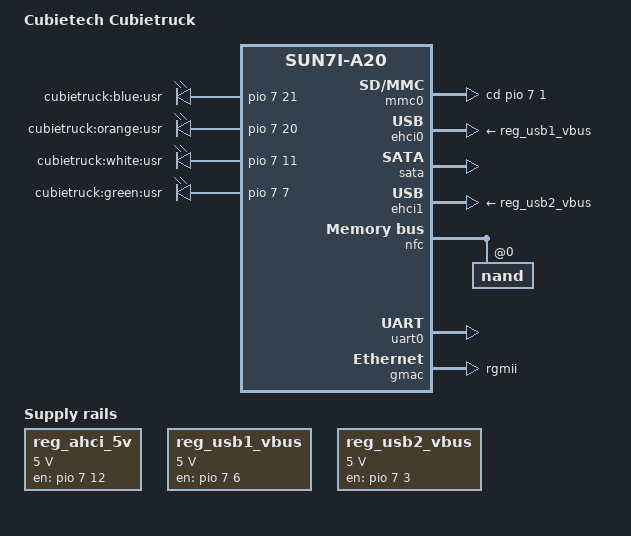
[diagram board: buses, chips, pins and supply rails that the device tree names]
/*
 * Copyright 2013 Oliver Schinagl
 *
 * Oliver Schinagl <oliver@schinagl.nl>
 *
 * The code contained herein is licensed under the GNU General Public
 * License. You may obtain a copy of the GNU General Public License
 * Version 2 or later at the following locations:
 *
 * http://www.opensource.org/licenses/gpl-license.html
 * http://www.gnu.org/copyleft/gpl.html
 */

/dts-v1/;
/include/ "sun7i-a20.dtsi"

/ {
	model = "Cubietech Cubietruck";
	compatible = "cubietech,cubietruck", "allwinner,sun7i-a20";

	soc@01c00000 {
		mmc0: mmc@01c0f000 {
			pinctrl-names = "default";
			pinctrl-0 = <&mmc0_pins_a>;
			pinctrl-1 = <&mmc0_cd_pin_cubietruck>;
			cd-gpios = <&pio 7 1 0>; /* PH1 */
			cd-mode = <1>;
			status = "okay";
		};

		ehci0: ehci0@0x01c14000 {
			vbus-supply = <&reg_usb1_vbus>;
			status = "okay";
		};

		sata: ahci@01c18000 {
			pwr-supply = <&reg_ahci_5v>;
			status = "okay";
		};

		ehci1: ehci1@0x01c1c000 {
			vbus-supply = <&reg_usb2_vbus>;
			status = "okay";
		};

		nfc: nand@01c03000 {
			pinctrl-names = "default";
			pinctrl-0 = <&nand_pins_a &nand_cs0_pins_a &nand_rb0_pins_a>;
			status = "okay";

			nand@0 {
				reg = <0>;
				allwinner,rb = <0>;
				nand-ecc-mode = "soft_bch";

				/* nand timings */
				tCLS-min = <6>;
				tCLH-min = <3>;
				tCS-min = <20>;
				tCH-min = <5>;
				tWP-min = <8>;
				tWH-min = <6>;
				tALS-min = <6>;
				tDS-min = <6>;
				tDH-min = <2>;
				tRR-min = <20>;
				tALH-min = <3>;
				tRP-min = <8>;
				tREH-min = <6>;
				tRC-min = <16>;
				tWC-min = <16>;
			};
		};

		pinctrl@01c20800 {
			mmc0_cd_pin_cubietruck: mmc0_cd_pin@0 {
				allwinner,pins = "PH1";
				allwinner,function = "gpio_in";
				allwinner,drive = <0>;
				allwinner,pull = <0>;
			};

			ahci_pwr_pin_cubietruck: ahci_pwr_pin@0 {
				allwinner,pins = "PH12";
				allwinner,function = "gpio_out";
				allwinner,drive = <0>;
				allwinner,pull = <0>;
			};

			led_pins_cubietruck: led_pins@0 {
				allwinner,pins = "PH7", "PH11", "PH20", "PH21";
				allwinner,function = "gpio_out";
				allwinner,drive = <0>;
				allwinner,pull = <0>;
			};

			usb1_vbus_pin: usb1_vbus_pin@0 {
					allwinner,pins = "PH6";
					allwinner,function = "gpio_out";
					allwinner,drive = <0>;
					allwinner,pull = <2>;
			};

			usb2_vbus_pin: usb2_vbus_pin@0 {
					allwinner,pins = "PH3";
					allwinner,function = "gpio_out";
					allwinner,drive = <0>;
					allwinner,pull = <2>;
			};
		};

		uart0: serial@01c28000 {
			pinctrl-names = "default";
			pinctrl-0 = <&uart0_pins_a>;
			status = "okay";
		};

		gmac: ethernet@01c50000 {
			pinctrl-names = "default";
			pinctrl-0 = <&gmac_pins_rgmii>;
			snps,phy-addr = <1>;
			phy-mode = "rgmii";
			status = "okay";
		};
	};

	leds {
		compatible = "gpio-leds";
		pinctrl-names = "default";
		pinctrl-0 = <&led_pins_cubietruck>;

		blue {
			label = "cubietruck:blue:usr";
			gpios = <&pio 7 21 0>;
		};

		orange {
			label = "cubietruck:orange:usr";
			gpios = <&pio 7 20 0>;
		};

		white {
			label = "cubietruck:white:usr";
			gpios = <&pio 7 11 0>;
		};

		green {
			label = "cubietruck:green:usr";
			gpios = <&pio 7 7 0>;
		};
	};

	regulators {
		compatible = "simple-bus";
		pinctrl-names = "default";

		reg_ahci_5v: ahci-5v {
			compatible = "regulator-fixed";
			regulator-name = "ahci-5v";
			regulator-min-microvolt = <5000000>;
			regulator-max-microvolt = <5000000>;
			pinctrl-0 = <&ahci_pwr_pin_cubietruck>;
			gpio = <&pio 7 12 0>;
			enable-active-high;
		};

		reg_usb1_vbus: usb1-vbus {
			compatible = "regulator-fixed";
			pinctrl-names = "default";
			pinctrl-0 = <&usb1_vbus_pin>;
			regulator-name = "usb1-vbus";
			regulator-min-microvolt = <5000000>;
			regulator-max-microvolt = <5000000>;
			enable-active-high;
			gpio = <&pio 7 6 0>;
		};

		reg_usb2_vbus: usb2-vbus {
			compatible = "regulator-fixed";
			pinctrl-names = "default";
			pinctrl-0 = <&usb2_vbus_pin>;
			regulator-name = "usb2-vbus";
			regulator-min-microvolt = <5000000>;
			regulator-max-microvolt = <5000000>;
			enable-active-high;
			gpio = <&pio 7 3 0>;
		};
	};
};
